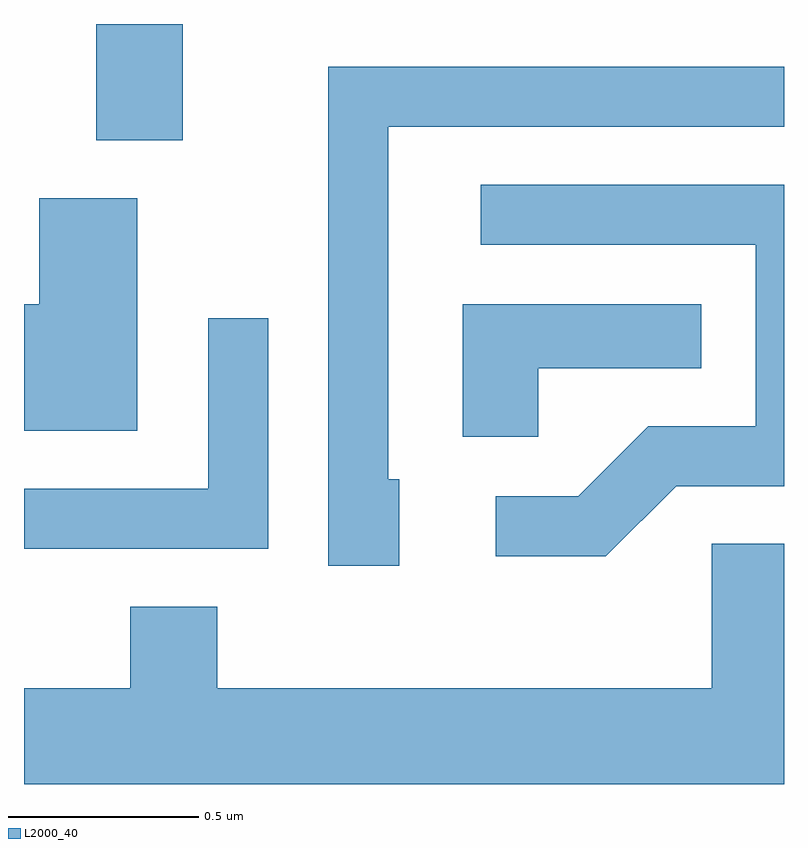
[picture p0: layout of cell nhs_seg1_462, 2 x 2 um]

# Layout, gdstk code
import gdstk
lib = gdstk.Library(unit=1e-6, precision=1e-09)
def R(c, l, rs):  # rectangles x0, y0, x1, y1
    for r in rs: c.add(gdstk.rectangle(r[:2], r[2:], *l))
def P(c, l, *ps):  # polygons
    for p in ps: c.add(gdstk.Polygon(p, *l))
L2000_40 = (2000, 40)

nhs_seg1_462 = lib.new_cell('nhs_seg1_462')
R(nhs_seg1_462, L2000_40, [(188.801,892.406,189.029,892.712)])
P(nhs_seg1_462, L2000_40, [(189.599,891.514),(189.569,891.514),(189.569,892.441),(190.611,892.441),(190.611,892.599),(189.411,892.599),(189.411,891.286),(189.599,891.286)],
  [(190.327,891.496),(190.611,891.496),(190.611,892.289),(189.813,892.289),(189.813,892.131),(190.536,892.131),(190.536,891.654),(190.254,891.654),(190.069,891.469),(189.853,891.469),(189.853,891.311),(190.142,891.311)],
  [(188.909,892.254),(188.651,892.254),(188.651,891.974),(188.611,891.974),(188.611,891.641),(188.909,891.641)],
  [(189.964,891.806),(190.393,891.806),(190.393,891.974),(189.766,891.974),(189.766,891.626),(189.964,891.626)],
  [(189.254,891.938),(189.096,891.938),(189.096,891.489),(188.611,891.489),(188.611,891.331),(189.254,891.331)],
  [(190.611,891.344),(190.421,891.344),(190.421,890.964),(189.119,890.964),(189.119,891.179),(188.891,891.179),(188.891,890.964),(188.611,890.964),(188.611,890.712),(190.611,890.712)])

lib.write_gds('nhs_seg1_462.gds')
